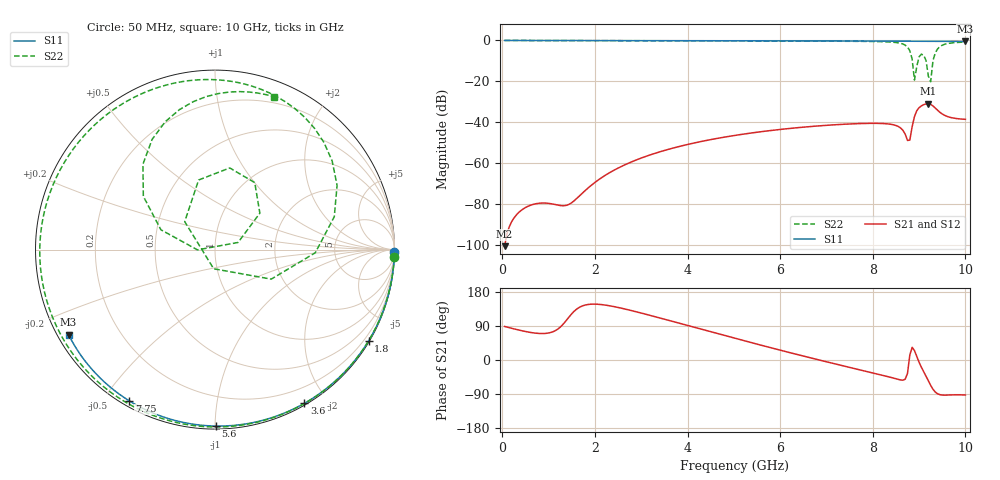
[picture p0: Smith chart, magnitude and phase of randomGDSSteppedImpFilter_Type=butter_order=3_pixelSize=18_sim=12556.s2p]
! freq	dB(S11)	phase(S11)	dB(S12)	phase(S12)
!  dB(S21)	phase(S21)	dB(S22)	phase(S22)
!S-par simulation data
#  GHz  S  DB  R 50
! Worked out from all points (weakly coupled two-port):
!   200 points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, 50 MHz to 10 GHz, reference 50 ohm
!   highest |S21| = -30.89 dB at 9.2 GHz (marker M1); lowest = -100.6 dB at 50 MHz (marker M2)
!   lowest |S11| = -0.5 dB at 10 GHz (marker M3), VSWR 34.43, Z = 1.56 - j13.4 ohm
!   |S11| at or under -10 dB: nowhere
!   |S22| runs from -20.2 to 0.0 dB; largest |S21 - S12| = 0
!   S11 on the Smith chart (normalised r, x): 50 MHz: open; 1.8 GHz: 0.03, -3.64; 3.6 GHz: 0.02, -1.74; 5.6 GHz: 0.02, -1.00; 7.75 GHz: 0.02, -0.58; 10 GHz: 0.03, -0.27
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0.05  -0.00 -0.9  -100.62 88.5  -100.62 88.5  -0.00 -2.4
1.45  -0.03 -24.8  -80.06 114.9  -80.06 114.9  -0.08 -65.9
1.75  -0.04 -29.9  -74.24 143.6  -74.24 143.6  -0.09 -78.1
1.8  -0.04 -30.7  -73.21 145.3  -73.21 145.3  -0.09 -80.0
3.4  -0.08 -56.7  -54.48 111.0  -54.48 111.0  -0.14 -135.6
3.6  -0.08 -59.8  -53.17 104.4  -53.17 104.4  -0.15 -141.7
5.05  -0.13 -81.8  -46.35 56.4  -46.35 56.4  -0.21 177.3
5.6  -0.15 -89.8  -44.59 38.7  -44.59 38.7  -0.24 162.3
6.7  -0.20 -105.3  -42.02 4.3  -42.02 4.3  -0.31 131.5
7.75  -0.28 -119.6  -40.63 -26.8  -40.63 -26.8  -0.43 97.1
8.35  -0.33 -127.7  -40.88 -44.6  -40.88 -44.6  -0.73 67.8
8.6  -0.35 -131.0  -42.78 -52.7  -42.78 -52.7  -1.40 44.5
8.8  -0.37 -133.7  -48.73 13.2  -48.73 13.2  -5.05 -1.8
8.9  -0.38 -135.0  -37.25 25.0  -37.25 25.0  -19.41 -94.0
8.95  -0.39 -135.7  -34.37 9.3  -34.37 9.3  -12.77 137.3
9.1  -0.40 -137.7  -31.41 -30.8  -31.41 -30.8  -7.25 59.3
9.2  -0.41 -139.0  -30.89 -54.7  -30.89 -54.7  -17.42 17.2
9.25  -0.41 -139.7  -31.23 -66.8  -31.23 -66.8  -20.21 -179.1
9.3  -0.42 -140.4  -32.04 -77.2  -32.04 -77.2  -9.87 159.9
9.4  -0.43 -141.7  -34.19 -89.1  -34.19 -89.1  -4.12 130.2
9.6  -0.46 -144.4  -37.10 -92.6  -37.10 -92.6  -1.59 98.4
10  -0.50 -149.9  -38.58 -92.3  -38.58 -92.3  -0.79 69.0
